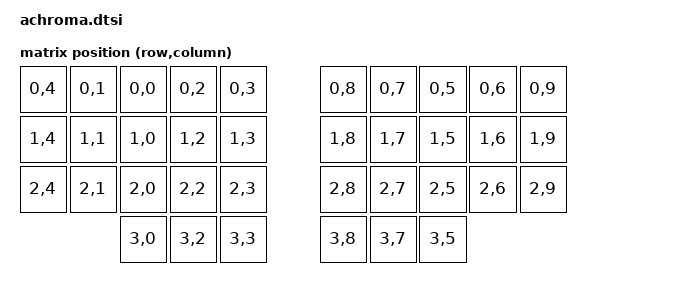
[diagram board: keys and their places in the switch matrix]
#include <dt-bindings/zmk/matrix_transform.h>
#include <dt-bindings/led/led.h>
#include <zephyr/dt-bindings/pinctrl/nrf-pinctrl.h>

/ {
    chosen {
        zmk,underglow = &led_strip;
    };

    // Full-keyboard matrix: 10 columns (5 per half) x 4 rows.
    // Left half uses columns 0-4, right half uses columns 5-9 (col-offset set in right overlay).
    default_transform: keymap_transform_0 {
        compatible = "zmk,matrix-transform";
        columns = <10>;
        rows = <4>;

        map = <
            RC(0,4) RC(0,1) RC(0,0) RC(0,2) RC(0,3)   RC(0,8) RC(0,7) RC(0,5) RC(0,6) RC(0,9)
            RC(1,4) RC(1,1) RC(1,0) RC(1,2) RC(1,3)   RC(1,8) RC(1,7) RC(1,5) RC(1,6) RC(1,9)
            RC(2,4) RC(2,1) RC(2,0) RC(2,2) RC(2,3)   RC(2,8) RC(2,7) RC(2,5) RC(2,6) RC(2,9)
                            RC(3,0) RC(3,2) RC(3,3)   RC(3,8) RC(3,7) RC(3,5)
        >;
    };

    physical_layout_split: physical_layout_0 {
        compatible = "zmk,physical-layout";
        display-name = "Achroma";

        kscan = <&kscan0>;
        transform = <&default_transform>;
    };
};

// LED data line: PCB net "RGB" -> nice!nano pad 1 -> P0.06, used as SPI3 MOSI.
// NOTE: on the right half this pin changes if the controller is mounted mirrored. Review before building it.
&pinctrl {
    spi3_default: spi3_default {
        group1 {
            psels = <NRF_PSEL(SPIM_MOSI, 0, 6)>;
        };
    };

    spi3_sleep: spi3_sleep {
        group1 {
            psels = <NRF_PSEL(SPIM_MOSI, 0, 6)>;
            low-power-enable;
        };
    };
};

&spi3 {
    compatible = "nordic,nrf-spim";
    status = "okay";
    pinctrl-0 = <&spi3_default>;
    pinctrl-1 = <&spi3_sleep>;
    pinctrl-names = "default", "sleep";

    led_strip: ws2812@0 {
        compatible = "worldsemi,ws2812-spi";
        reg = <0>;
        spi-max-frequency = <4000000>;
        chain-length = <18>;   // 18 LEDs per half on the PCB
        spi-one-frame = <0x70>;
        spi-zero-frame = <0x40>;
        color-mapping = <LED_COLOR_ID_GREEN LED_COLOR_ID_RED LED_COLOR_ID_BLUE>;
    };
};
